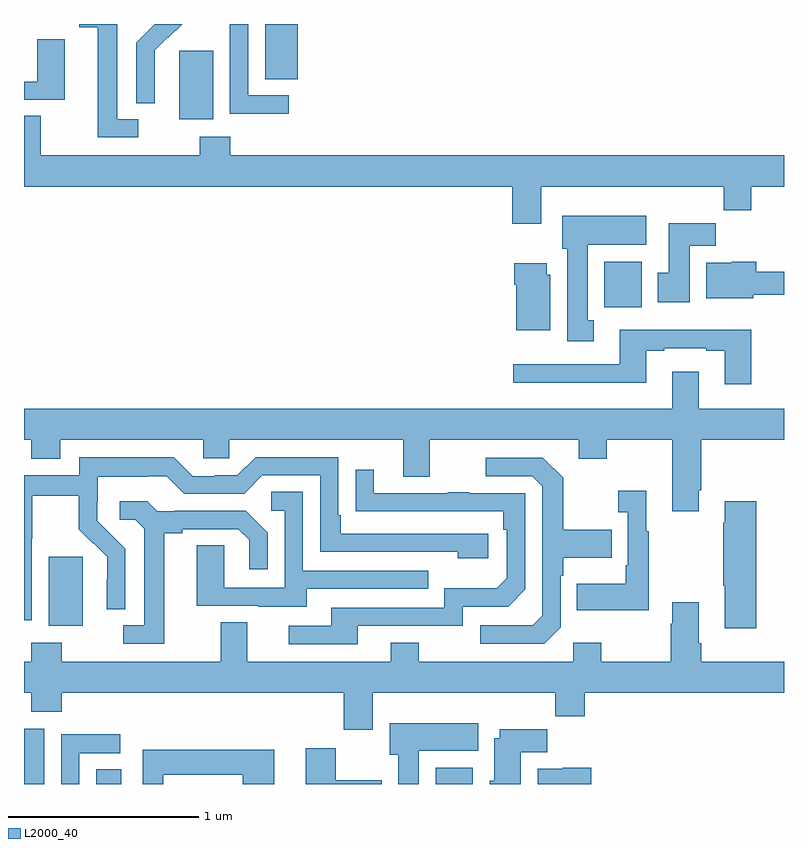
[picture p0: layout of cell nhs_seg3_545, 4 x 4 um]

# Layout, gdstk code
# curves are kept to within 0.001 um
import gdstk
lib = gdstk.Library(unit=1e-6, precision=1e-09)
def R(c, l, rs):  # rectangles x0, y0, x1, y1
    for r in rs: c.add(gdstk.rectangle(r[:2], r[2:], *l))
def P(c, l, *ps):  # polygons
    for p in ps: c.add(gdstk.Polygon(p, *l))
L2000_40 = (2000, 40)

nhs_seg3_545 = lib.new_cell('nhs_seg3_545')
R(nhs_seg3_545, L2000_40, [(137,736.4,137.107,736.69), (137.381,736.4,137.512,736.478), (139.166,736.4,139.363,736.486), (137.129,737.234,137.308,737.595), (140.054,738.908,140.251,739.15), (137.816,739.898,137.995,740.259), (138.269,740.11,138.44,740.4)])
P(nhs_seg3_545, L2000_40, [(137.602,739.899),(137.491,739.899),(137.491,740.4),(137.291,740.4),(137.291,740.384),(137.387,740.384),(137.387,739.803),(137.602,739.803)],
  [(137.688,740.138),(137.687,740.138),(137.687,740.261),(137.757,740.331),(137.76,740.328),(137.832,740.4),(137.688,740.4),(137.664,740.376),(137.665,740.375),(137.592,740.302),(137.592,739.984),(137.688,739.984)],
  [(138.394,740.025),(138.18,740.025),(138.18,740.4),(138.082,740.4),(138.082,740.356),(138.084,740.356),(138.084,739.927),(138.394,739.927)],
  [(137.215,740.321),(137.07,740.321),(137.07,740.097),(137,740.097),(137,740.001),(137.215,740.001)],
  [(139.723,739.544),(140.683,739.544),(140.683,739.42),(140.827,739.42),(140.827,739.544),(141,739.544),(141,739.708),(138.086,739.708),(138.086,739.807),(137.926,739.807),(137.926,739.708),(137.089,739.708),(137.089,739.916),(137,739.916),(137,739.544),(139.571,739.544),(139.571,739.35),(139.723,739.35)],
  [(139.999,738.842),(139.966,738.842),(139.966,739.238),(140.275,739.238),(140.275,739.39),(139.832,739.39),(139.832,739.218),(139.859,739.218),(139.859,738.729),(139.999,738.729)],
  [(140.503,739.232),(140.642,739.232),(140.642,739.351),(140.393,739.351),(140.393,739.092),(140.336,739.092),(140.336,738.936),(140.503,738.936)],
  [(140.838,738.974),(141,738.974),(141,739.096),(140.855,739.096),(140.855,739.15),(140.724,739.15),(140.724,739.144),(140.591,739.144),(140.591,738.956),(140.838,738.956)],
  [(139.771,739.08),(139.75,739.08),(139.75,739.141),(139.58,739.141),(139.58,739.028),(139.592,739.028),(139.592,738.788),(139.771,738.788)],
  [(140.827,738.79),(140.135,738.79),(140.135,738.609),(139.575,738.609),(139.575,738.512),(140.275,738.512),(140.275,738.681),(140.371,738.681),(140.371,738.693),(140.591,738.693),(140.591,738.681),(140.687,738.681),(140.687,738.504),(140.827,738.504)],
  [(140.411,738.571),(140.411,738.376),(137,738.376),(137,738.212),(137.039,738.212),(137.039,738.113),(137.191,738.113),(137.191,738.212),(137.943,738.212),(137.943,738.114),(138.081,738.114),(138.081,738.212),(138.995,738.212),(138.995,738.018),(139.135,738.018),(139.135,738.212),(139.919,738.212),(139.919,738.113),(140.067,738.113),(140.067,738.212),(140.411,738.212),(140.411,737.835),(140.551,737.835),(140.551,737.947),(140.564,737.947),(140.564,738.212),(141,738.212),(141,738.376),(140.551,738.376),(140.551,738.571)],
  [(137.04,737.692),(137.043,737.692),(137.043,737.916),(137.287,737.916),(137.287,737.741),(137.364,737.664),(137.367,737.667),(137.438,737.597),(137.438,737.474),(137.436,737.474),(137.436,737.32),(137.532,737.32),(137.532,737.638),(137.386,737.786),(137.386,737.883),(137.388,737.883),(137.388,738.017),(137.651,738.017),(137.651,738.021),(137.751,738.021),(137.844,737.928),(138.159,737.928),(138.255,738.024),(138.558,738.024),(138.558,737.622),(139.283,737.622),(139.283,737.588),(139.444,737.588),(139.444,737.718),(138.667,737.718),(138.667,737.815),(138.654,737.815),(138.654,738.12),(138.219,738.12),(138.123,738.024),(138.005,738.024),(138.005,738.021),(137.889,738.021),(137.789,738.121),(137.292,738.121),(137.292,738.024),(137,738.024),(137,737.263),(137.04,737.263)],
  [(139.824,737.226),(139.824,737.495),(139.837,737.495),(139.837,737.591),(140.093,737.591),(140.093,737.739),(139.837,737.739),(139.837,738.011),(139.731,738.117),(139.431,738.117),(139.431,738.021),(139.674,738.021),(139.728,737.967),(139.728,737.286),(139.677,737.235),(139.401,737.235),(139.401,737.139),(139.737,737.139)],
  [(138.757,737.232),(139.308,737.232),(139.308,737.334),(139.548,737.334),(139.638,737.424),(139.638,737.931),(139.343,737.931),(139.343,737.936),(139.231,737.936),(139.231,737.931),(138.841,737.931),(138.841,738.055),(138.745,738.055),(138.745,737.836),(139.522,737.835),(139.522,737.738),(139.542,737.738),(139.542,737.484),(139.489,737.431),(139.212,737.431),(139.212,737.328),(138.617,737.328),(138.617,737.232),(138.393,737.232),(138.393,737.136),(138.757,737.136)],
  [(140.287,737.731),(140.275,737.731),(140.275,737.944),(140.127,737.944),(140.127,737.831),(140.178,737.831),(140.178,737.551),(140.166,737.551),(140.166,737.455),(139.909,737.455),(139.909,737.315),(140.287,737.315)],
  [(138.487,737.427),(139.127,737.427),(139.127,737.523),(138.468,737.523),(138.468,737.939),(138.3,737.939),(138.3,737.838),(138.372,737.838),(138.372,737.433),(138.054,737.433),(138.054,737.657),(137.909,737.657),(137.909,737.337),(138.233,737.337),(138.233,737.333),(138.487,737.333)],
  [(137.737,737.72),(137.833,737.72),(137.833,737.742),(138.128,737.742),(138.185,737.685),(138.185,737.529),(138.282,737.529),(138.282,737.722),(138.166,737.838),(137.794,737.838),(137.794,737.835),(137.7,737.835),(137.648,737.887),(137.505,737.887),(137.505,737.79),(137.586,737.79),(137.633,737.743),(137.633,737.235),(137.523,737.235),(137.523,737.139),(137.737,737.139)],
  [(140.855,737.887),(140.687,737.887),(140.687,737.774),(140.68,737.774),(140.68,737.443),(140.687,737.443),(140.687,737.22),(140.855,737.22)],
  [(138.835,736.88),(139.795,736.88),(139.795,736.756),(139.952,736.756),(139.952,736.88),(141,736.88),(141,737.044),(140.564,737.044),(140.564,737.14),(140.551,737.14),(140.551,737.356),(140.411,737.356),(140.411,737.243),(140.404,737.243),(140.404,737.044),(140.037,737.044),(140.037,737.143),(139.89,737.143),(139.89,737.044),(139.077,737.044),(139.077,737.143),(138.929,737.143),(138.929,737.044),(138.175,737.044),(138.175,737.252),(138.035,737.252),(138.035,737.044),(137.199,737.044),(137.199,737.143),(137.039,737.143),(137.039,737.044),(137,737.044),(137,736.88),(137.038,736.88),(137.038,736.781),(137.198,736.781),(137.198,736.88),(138.683,736.88),(138.683,736.686),(138.835,736.686)],
  [(139.078,736.574),(139.39,736.574),(139.39,736.72),(138.926,736.72),(138.926,736.554),(138.971,736.554),(138.971,736.4),(139.078,736.4)],
  [(139.615,736.568),(139.754,736.568),(139.754,736.687),(139.505,736.687),(139.505,736.642),(139.475,736.642),(139.475,736.416),(139.451,736.416),(139.451,736.4),(139.615,736.4)],
  [(137.292,736.563),(137.506,736.563),(137.506,736.662),(137.196,736.662),(137.196,736.4),(137.292,736.4)],
  [(138.883,736.42),(138.64,736.42),(138.64,736.588),(138.482,736.588),(138.482,736.4),(138.883,736.4)],
  [(137.734,736.45),(138.151,736.45),(138.151,736.4),(138.316,736.4),(138.316,736.579),(137.625,736.579),(137.625,736.4),(137.734,736.4)],
  [(139.985,736.486),(139.836,736.486),(139.836,736.48),(139.703,736.48),(139.703,736.4),(139.985,736.4)])

lib.write_gds('nhs_seg3_545.gds')
